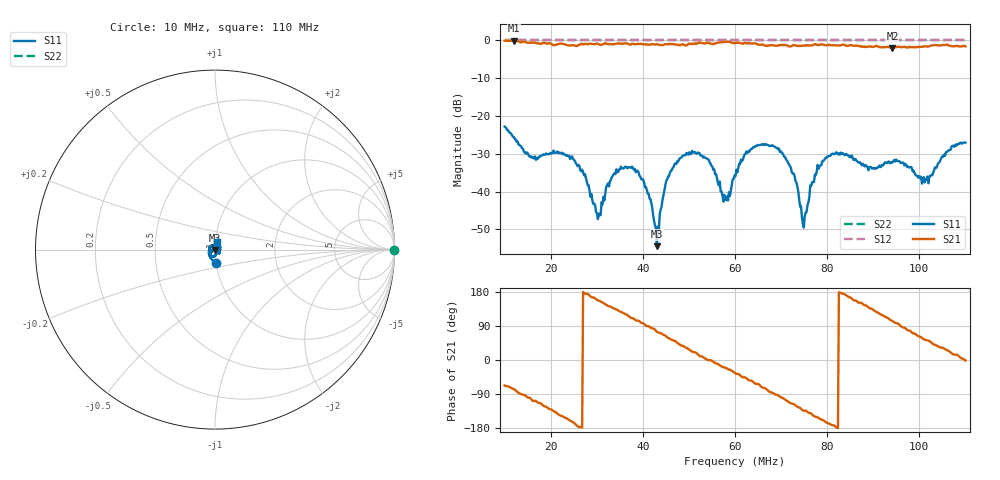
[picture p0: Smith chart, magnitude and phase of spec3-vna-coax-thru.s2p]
! Anritsu VNA Master:  Model: MS2034B/10/19/501
! SN:  1337062
! /bd0/ovro-jan-2016/spec3-vna-coax-thru.s2p
! Existing Calibration Information:
! TYPE:  Current Settings,  Active Cal Settings
! TIME:  01/10/2016 07:48:14 PM,  01/10/2016 03:13:30 PM
! INTERNAL TEMP:  42.3 C,  45.8 C
! # POINTS:  500,  500
! START FREQ:  10.000 MHz,  10.000 MHz
! STOP FREQ:  110.000 MHz,  110.000 MHz
! SOURCE POWER:  Low,  Low
! IFBW:  100 Hz,  100 Hz
! AVG FACTOR:  1 ,  3
! REF PLANE 1:  2.2245 m,  2.2245 m
! REF PLANE 2:  0 mm,  0 mm
! CAL TYPE:  1P2P S11,S21,  1P2P S11,S21
! CAL METHOD:  SOLT,  SOLT
! CAL LINE TYPE:  Coax,  Coax
! DUT PORT 1:  K-Conn(M),  K-Conn(M)
! DUT PORT 2:  N-Conn(M),  N-Conn(M)
! CAL STATUS:  OK: Accuracy High,  --
# GHZ S DB R 50.0
! FREQ.GHZ  S11DB  S11A  S21DB  S21A  S12DB  S12A  S22DB  S22A
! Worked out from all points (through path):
!   500 points, 10 MHz to 110 MHz, reference 50 ohm
!   highest |S21| = -0.02 dB at 12 MHz (marker M1); lowest = -2.0 dB at 94.17 MHz (marker M2)
!   group delay of S21, straight-line fit = 18.2 ns
!   lowest |S11| = -54.4 dB at 43.07 MHz (marker M3), VSWR 1.00, Z = 50.1 - j0.175 ohm
!   |S11| at or under -10 dB: start of sweep to end of sweep
!   |S22| runs from 0.0 to 0.0 dB; largest |S21 - S12| = 1.9
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0.01  -22.79 -84.7  -0.07 -67.3  0.00 0.0  0.00 0.0
0.01200401  -25.54 -120.0  -0.02 -77.3  0.00 0.0  0.00 0.0
0.01861723  -30.26 85.6  -0.58 -121.7  0.00 0.0  0.00 0.0
0.02683367  -34.20 -39.6  -0.97 -178.2  0.00 0.0  0.00 0.0
0.03044088  -45.78 -165.1  -1.00 156.7  0.00 0.0  0.00 0.0
0.03384769  -35.18 107.4  -0.96 135.2  0.00 0.0  0.00 0.0
0.03865731  -34.45 59.1  -0.98 104.0  0.00 0.0  0.00 0.0
0.04306613  -54.43 -67.2  -0.95 74.1  0.00 0.0  0.00 0.0
0.04346693  -50.29 -123.5  -1.16 72.2  0.00 0.0  0.00 0.0
0.04547094  -35.99 -163.7  -1.02 58.3  0.00 0.0  0.00 0.0
0.04907816  -30.35 166.9  -1.25 34.7  0.00 0.0  0.00 0.0
0.05408818  -31.40 124.7  -0.57 0.1  0.00 0.0  0.00 0.0
0.05769539  -40.87 38.4  -0.38 -19.3  0.00 0.0  0.00 0.0
0.0601002  -35.89 -57.1  -0.70 -35.0  0.00 0.0  0.00 0.0
0.06911824  -28.45 -133.3  -1.40 -92.4  0.00 0.0  0.00 0.0
0.07492986  -49.49 -103.7  -1.33 -133.9  0.00 0.0  0.00 0.0
0.07673347  -37.50 -23.1  -1.29 -143.9  0.00 0.0  0.00 0.0
0.0849499  -30.55 -41.1  -1.28 165.0  0.00 0.0  0.00 0.0
0.09336673  -32.02 9.0  -1.78 108.8  0.00 0.0  0.00 0.0
0.09416834  -32.29 8.2  -1.98 102.6  0.00 0.0  0.00 0.0
0.1015832  -36.77 63.6  -1.56 52.5  0.00 0.0  0.00 0.0
0.11  -27.02 78.1  -1.55 -1.5  0.00 0.0  0.00 0.0
